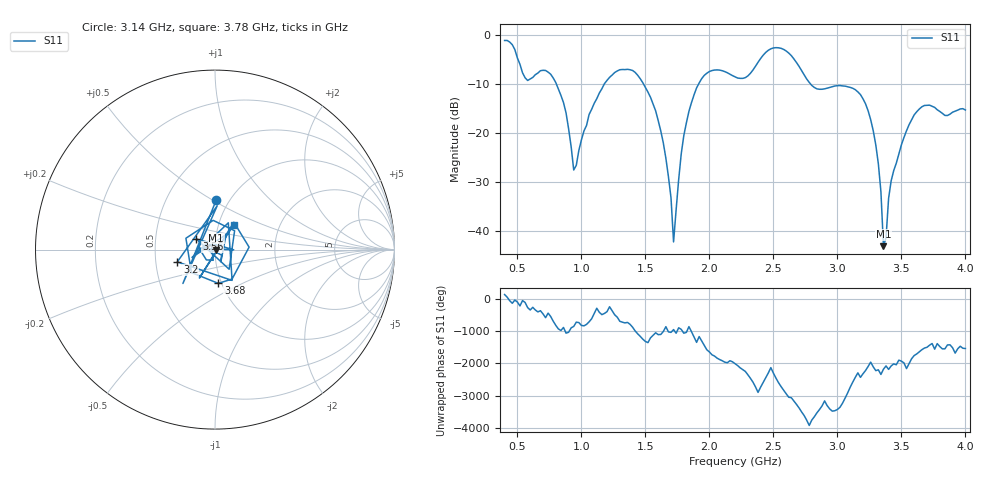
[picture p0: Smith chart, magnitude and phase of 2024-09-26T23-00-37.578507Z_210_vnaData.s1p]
!Created with skrf (http://scikit-rf.org).
# Hz S RI R 50.0
!freq ReS11 ImS11
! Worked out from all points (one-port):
!   181 points, 400 MHz to 4 GHz, reference 50 ohm
!   lowest |S11| = -43.2 dB at 3.36 GHz (marker M1), VSWR 1.01, Z = 50.7 - j0.238 ohm
!   |S11| at or under -10 dB: 802.9 MHz to 1.181 GHz (377.8 MHz wide, 38.1 % of centre); 1.483 GHz to 1.918 GHz (434.4 MHz wide, 25.5 % of centre); 2.788 GHz to end of sweep
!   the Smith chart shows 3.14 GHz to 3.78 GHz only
!   S11 on the Smith chart (normalised r, x): 3.14 GHz: 0.87, +0.51; 3.2 GHz: 0.65, -0.09; 3.56 GHz: 0.81, +0.10; 3.68 GHz: 0.97, -0.38; 3.78 GHz: 1.18, +0.33
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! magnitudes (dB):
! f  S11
! 400 MHz  -1.2
! 580 MHz  -9.4
! 720 MHz  -7.3
! 860 MHz  -13.9
! 940 MHz  -27.6
! 1.1 GHz  -14.0
! 1.3 GHz  -7.2
! 1.58 GHz  -15.6
! 1.68 GHz  -29.0
! 1.72 GHz  -42.3
! 1.76 GHz  -29.6
! 1.82 GHz  -18.0
! 1.92 GHz  -9.9
! 2.2 GHz  -8.6
! 2.5 GHz  -2.7
! 2.66 GHz  -5.0
! 2.84 GHz  -11.1
! 3.1 GHz  -10.8
! 3.14 GHz  -11.3
! 3.2 GHz  -13.1
! 3.3 GHz  -22.5
! 3.34 GHz  -32.0
! 3.36 GHz  -43.2
! 3.42 GHz  -29.8
! 3.56 GHz  -18.4
! 3.68 GHz  -14.5
! 3.78 GHz  -15.3
! 4 GHz  -15.4
